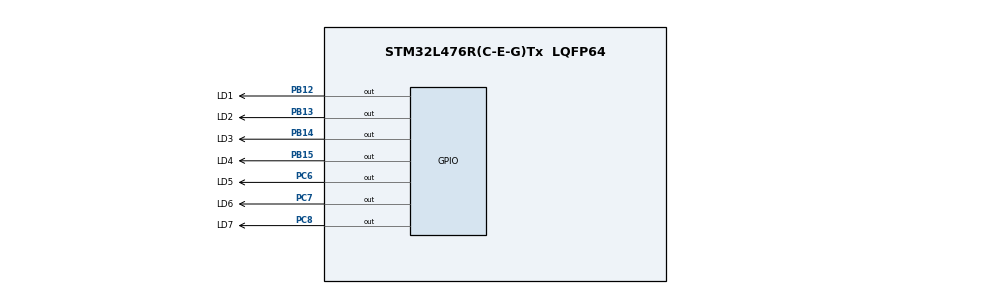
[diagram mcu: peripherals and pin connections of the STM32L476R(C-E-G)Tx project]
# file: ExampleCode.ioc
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Mcu.Family=STM32L4
Mcu.Name=STM32L476R(C-E-G)Tx
Mcu.Package=LQFP64
NVIC.PriorityGroup=NVIC_PRIORITYGROUP_4
PA13\ (JTMS-SWDIO).Mode=Serial_Wire
PA13\ (JTMS-SWDIO).Signal=SYS_JTMS-SWDIO
PA14\ (JTCK-SWCLK).Mode=Serial_Wire
PA14\ (JTCK-SWCLK).Signal=SYS_JTCK-SWCLK
PB12.GPIO_Label=LD1
PB12.GPIO_PuPd=GPIO_PULLDOWN
PB12.Signal=GPIO_Output
PB13.GPIO_Label=LD2
PB13.GPIO_PuPd=GPIO_PULLDOWN
PB13.Signal=GPIO_Output
PB14.GPIO_Label=LD3
PB14.GPIO_PuPd=GPIO_PULLDOWN
PB14.Signal=GPIO_Output
PB15.GPIO_Label=LD4
PB15.GPIO_PuPd=GPIO_PULLDOWN
PB15.Signal=GPIO_Output
PC6.GPIO_Label=LD5
PC6.GPIO_PuPd=GPIO_PULLDOWN
PC6.Signal=GPIO_Output
PC7.GPIO_Label=LD6
PC7.GPIO_PuPd=GPIO_PULLDOWN
PC7.Signal=GPIO_Output
PC8.GPIO_Label=LD7
PC8.GPIO_PuPd=GPIO_PULLDOWN
PC8.Signal=GPIO_Output
ProjectManager.HeapSize=0x200
ProjectManager.StackSize=0x400
ProjectManager.TargetToolchain=STM32CubeIDE
RCC.HSE_VALUE=8000000
RCC.HSI_VALUE=16000000
RCC.LSE_VALUE=32768
RCC.MSI_VALUE=4000000
RCC.VCOOutputFreq_Value=32000000
board=custom

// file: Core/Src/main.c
/* USER CODE BEGIN Header */
/**
  ******************************************************************************
  * @file           : main.c
  * @brief          : Main program body
  ******************************************************************************
  * @attention
  *
  * Copyright (c) 2025 STMicroelectronics.
  * All rights reserved.
  *
  * This software is licensed under terms that can be found in the LICENSE file
  * in the root directory of this software component.
  * If no LICENSE file comes with this software, it is provided AS-IS.
  *
  ******************************************************************************
  */
/* USER CODE END Header */
#include "main.h"

/* USER CODE BEGIN PD */
#define CENTER (3)
/* USER CODE END PD */

void SystemClock_Config(void);
static void MX_GPIO_Init(void);

/* USER CODE BEGIN 0 */
GPIO_TypeDef* LED_PORTS[] = {LD1_GPIO_Port,
							 LD2_GPIO_Port,
							 LD3_GPIO_Port,
							 LD4_GPIO_Port,
							 LD5_GPIO_Port,
							 LD6_GPIO_Port,
							 LD7_GPIO_Port};

uint16_t LED_PINS[] = {LD1_Pin,
					   LD2_Pin,
					   LD3_Pin,
					   LD4_Pin,
					   LD5_Pin,
					   LD6_Pin,
					   LD7_Pin};
/* USER CODE END 0 */

int main(void)
{

  /* MCU Configuration--------------------------------------------------------*/

  /* Reset of all peripherals, Initializes the Flash interface and the Systick. */
  HAL_Init();

  /* Configure the system clock */
  SystemClock_Config();

  /* Initialize all configured peripherals */
  MX_GPIO_Init();

  /* Infinite loop */
  /* USER CODE BEGIN WHILE */
  while (1)
  {
	  for (int8_t i = 0; i <= CENTER; i++)
	  {
		  HAL_Delay(100); // using HAL_DELAY only for demonstration
		  HAL_GPIO_WritePin(LED_PORTS[CENTER - i], LED_PINS[CENTER - i], GPIO_PIN_SET);
		  HAL_GPIO_WritePin(LED_PORTS[CENTER + i], LED_PINS[CENTER + i], GPIO_PIN_SET);
	  }

	  for (int8_t i = CENTER; i >= 0; i--)
	  {
		  HAL_Delay(100);
		  HAL_GPIO_WritePin(LED_PORTS[CENTER - i], LED_PINS[CENTER - i], GPIO_PIN_RESET);
		  HAL_GPIO_WritePin(LED_PORTS[CENTER + i], LED_PINS[CENTER + i], GPIO_PIN_RESET);
	  }
    /* USER CODE END WHILE */

  }
}

void SystemClock_Config(void)
{
  RCC_OscInitTypeDef RCC_OscInitStruct = {0};
  RCC_ClkInitTypeDef RCC_ClkInitStruct = {0};

  /** Configure the main internal regulator output voltage
  */
  if (HAL_PWREx_ControlVoltageScaling(PWR_REGULATOR_VOLTAGE_SCALE1) != HAL_OK)
  {
    Error_Handler();
  }

  /** Initializes the RCC Oscillators according to the specified parameters
  * in the RCC_OscInitTypeDef structure.
  */
  RCC_OscInitStruct.OscillatorType = RCC_OSCILLATORTYPE_MSI;
  RCC_OscInitStruct.MSIState = RCC_MSI_ON;
  RCC_OscInitStruct.MSICalibrationValue = 0;
  RCC_OscInitStruct.MSIClockRange = RCC_MSIRANGE_6;
  RCC_OscInitStruct.PLL.PLLState = RCC_PLL_NONE;
  if (HAL_RCC_OscConfig(&RCC_OscInitStruct) != HAL_OK)
  {
    Error_Handler();
  }

  /** Initializes the CPU, AHB and APB buses clocks
  */
  RCC_ClkInitStruct.ClockType = RCC_CLOCKTYPE_HCLK|RCC_CLOCKTYPE_SYSCLK
                              |RCC_CLOCKTYPE_PCLK1|RCC_CLOCKTYPE_PCLK2;
  RCC_ClkInitStruct.SYSCLKSource = RCC_SYSCLKSOURCE_MSI;
  RCC_ClkInitStruct.AHBCLKDivider = RCC_SYSCLK_DIV1;
  RCC_ClkInitStruct.APB1CLKDivider = RCC_HCLK_DIV1;
  RCC_ClkInitStruct.APB2CLKDivider = RCC_HCLK_DIV1;

  if (HAL_RCC_ClockConfig(&RCC_ClkInitStruct, FLASH_LATENCY_0) != HAL_OK)
  {
    Error_Handler();
  }
}

static void MX_GPIO_Init(void)
{
  GPIO_InitTypeDef GPIO_InitStruct = {0};

  /* GPIO Ports Clock Enable */
  __HAL_RCC_GPIOB_CLK_ENABLE();
  __HAL_RCC_GPIOC_CLK_ENABLE();
  __HAL_RCC_GPIOA_CLK_ENABLE();

  /*Configure GPIO pin Output Level */
  HAL_GPIO_WritePin(GPIOB, LD1_Pin|LD2_Pin|LD3_Pin|LD4_Pin, GPIO_PIN_RESET);

  /*Configure GPIO pin Output Level */
  HAL_GPIO_WritePin(GPIOC, LD5_Pin|LD6_Pin|LD7_Pin, GPIO_PIN_RESET);

  /*Configure GPIO pins : LD1_Pin LD2_Pin LD3_Pin LD4_Pin */
  GPIO_InitStruct.Pin = LD1_Pin|LD2_Pin|LD3_Pin|LD4_Pin;
  GPIO_InitStruct.Mode = GPIO_MODE_OUTPUT_PP;
  GPIO_InitStruct.Pull = GPIO_PULLDOWN;
  GPIO_InitStruct.Speed = GPIO_SPEED_FREQ_LOW;
  HAL_GPIO_Init(GPIOB, &GPIO_InitStruct);

  /*Configure GPIO pins : LD5_Pin LD6_Pin LD7_Pin */
  GPIO_InitStruct.Pin = LD5_Pin|LD6_Pin|LD7_Pin;
  GPIO_InitStruct.Mode = GPIO_MODE_OUTPUT_PP;
  GPIO_InitStruct.Pull = GPIO_PULLDOWN;
  GPIO_InitStruct.Speed = GPIO_SPEED_FREQ_LOW;
  HAL_GPIO_Init(GPIOC, &GPIO_InitStruct);

}

void Error_Handler(void)
{
  __disable_irq();
  while (1)
  {
  }
}
